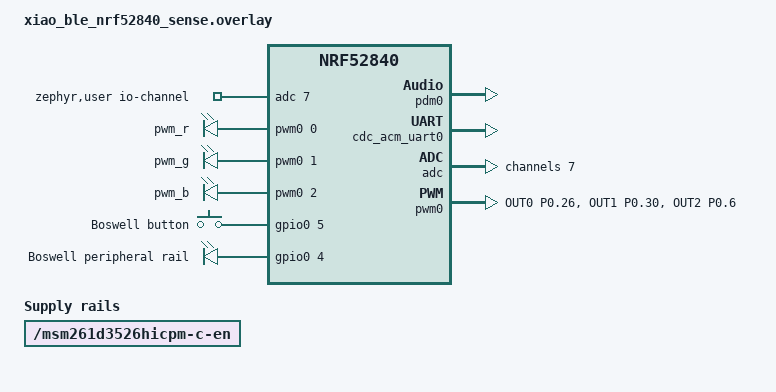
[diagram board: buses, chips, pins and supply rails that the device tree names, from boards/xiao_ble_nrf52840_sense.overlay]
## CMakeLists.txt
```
cmake_minimum_required(VERSION 3.20.0)
find_package(Zephyr REQUIRED HINTS $ENV{ZEPHYR_BASE})
project(boswell)

target_sources(app PRIVATE
  src/main.c
  src/mic.c
  src/codec.c
  src/ble_audio.c
  src/imu_tap.c
  src/battery.c
  src/led.c
  src/cfg_store.c
  src/clock.c
  src/tone.c
  src/fault.c
  src/button.c
  src/qspi_store.c
)

# Only built for a board that has a card. See boards/audio_bff.overlay.
if(CONFIG_DISK_DRIVER_SDMMC)
  target_sources(app PRIVATE src/sd_probe.c src/sd_store.c src/sd_xfer.c)
endif()
# Vendored, not fetched -- see src/lib/opus-1.2.1/README.boswell.md for why
# a copy and not a module, and what was changed on the way in.
if(CONFIG_BOSWELL_OPUS)
  add_subdirectory(src/lib/opus-1.2.1)
  target_include_directories(app PRIVATE src/lib/opus-1.2.1)
  # Named explicitly. zephyr_library_named() registers opus_codec for the
  # final image, but app is itself a static library and the linker sees it
  # before opus -- so the codec's symbols are already past by the time
  # anything asks for them, and every call comes back undefined.
  target_link_libraries(app PRIVATE opus_codec)
endif()

target_include_directories(app PRIVATE src)
```

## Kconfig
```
# Application options. Zephyr requires the sourcing line at the end.

config BOSWELL_OPUS
	bool "Encode captured audio with Opus"
	default n
	help
	  Replaces IMA ADPCM with Opus in CELT restricted-low-delay mode.
	  Half the bitrate for considerably better audio: ADPCM is a 4-bit
	  quantiser at 64 kbps, Opus is near-transparent for speech at 32.

	  Costs about 190 KB of flash for the codec, so it is a build-time
	  choice rather than something the device switches at runtime. The
	  wire protocol carries a codec id either way, so a host can decode
	  recordings from a device built with or without this.

source "Kconfig.zephyr"
```

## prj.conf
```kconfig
# Boswell firmware — Zephyr / nRF Connect SDK
#
# The wire protocol is deliberately identical to the Arduino build: same
# service and characteristic UUIDs, same 12-byte frame header, same IMA ADPCM.
# The host does not need to know which firmware is running.

CONFIG_LOG=y
# Deferred, not immediate: in immediate mode every LOG_* call renders and
# writes synchronously in its caller's context, including the Bluetooth
# stack's threads, and the USB CDC backend can block there.
CONFIG_LOG_MODE_DEFERRED=y
CONFIG_LOG_BUFFER_SIZE=4096
CONFIG_CBPRINTF_FP_SUPPORT=y

# Logs over USB CDC. Without a console there is no way to see why the firmware
# did not do what was expected -- the first version of this shipped blind and
# simply failed to advertise with nothing to say why.
CONFIG_USB_DEVICE_STACK=y
CONFIG_USB_DEVICE_PRODUCT="Boswell"
CONFIG_USB_DEVICE_VID=0x2886
CONFIG_USB_DEVICE_PID=0x8045
CONFIG_USB_CDC_ACM=y
CONFIG_SERIAL=y
CONFIG_CONSOLE=y
CONFIG_UART_CONSOLE=y
CONFIG_UART_LINE_CTRL=y
CONFIG_LOG_BACKEND_UART=y
# Deliberately off. Zephyr's automatic init calls usb_enable(NULL) before
# main() runs, and usb_enable() is once-only: main's own call then returns
# -EALREADY and its status callback is discarded silently. That callback is
# what hands the card to a docked host, so with auto-init on, the handover
# never once fired -- the log said "USB device support already enabled" and
# nothing else, and the card stayed mounted by the firmware while a computer
# had it as a block device.
#
# main() enables USB in its first few lines, and logging is deferred, so the
# early messages are buffered and delivered once the backend is up rather
# than lost.
CONFIG_USB_DEVICE_INITIALIZE_AT_BOOT=n

# --- Bluetooth -------------------------------------------------------------
# These values are taken from Omi's shipping configuration for this exact
# board (prj_xiao_ble_sense_devkitv2-adafruit.conf). They run the same job on
# the same silicon, and guessing at buffer sizes had already cost a working
# connection once.
CONFIG_BT=y
CONFIG_BT_PERIPHERAL=y
CONFIG_BT_DEVICE_NAME="Boswell"
CONFIG_BT_DEVICE_APPEARANCE=832
CONFIG_BT_MAX_CONN=1
CONFIG_BT_MAX_PAIRED=1
CONFIG_BT_GATT_DYNAMIC_DB=y
CONFIG_BT_GATT_CLIENT=n

# Throughput. A steady audio stream needs depth here or notifications stall.
CONFIG_BT_L2CAP_TX_MTU=247
CONFIG_BT_BUF_ACL_RX_SIZE=251
CONFIG_BT_BUF_ACL_TX_SIZE=251
CONFIG_BT_L2CAP_TX_BUF_COUNT=10
CONFIG_BT_CONN_TX_MAX=10
CONFIG_BT_CTLR_DATA_LENGTH_MAX=251

# Negotiate the faster PHY and longer packets automatically.
CONFIG_BT_PHY_UPDATE=y
CONFIG_BT_CTLR_PHY_2M=y
CONFIG_BT_USER_PHY_UPDATE=y
CONFIG_BT_USER_DATA_LEN_UPDATE=y

# --- Control security ---------------------------------------------------------
# The control characteristic arms the microphone, erases the backlog and can
# reboot the device into its bootloader. Left open, anyone within radio range
# could do all three to a microphone somebody is wearing.
#
# Encryption is required for control writes. Pairing is Just Works, because
# this board has no display or keypad to confirm a passkey with -- so it stops
# a passer-by issuing commands and does not stop a determined attacker who is
# present at the moment of pairing. Saying that plainly is better than
# implying more.
#
# Bonds are stored, so the host pairs once. "boswell unpair" forgets them, and
# the USB shell can always arm and disarm regardless -- that is the way back
# in if pairing ever fails.
CONFIG_BT_SMP=y
CONFIG_BT_BONDABLE=y
CONFIG_BT_SETTINGS=y
CONFIG_BT_MAX_PAIRED=2

# Vendor-specific HCI, for setting radio transmit power at runtime.
CONFIG_BT_HCI_VS=y

CONFIG_FPU=y

# --- Audio capture ---------------------------------------------------------
CONFIG_AUDIO=y
CONFIG_AUDIO_DMIC=y
# Selects NRFX_PDM itself; setting that directly is rejected.
CONFIG_AUDIO_DMIC_NRFX_PDM=y

# The board powers the microphone and IMU through fixed regulators declared in
# its devicetree -- including the high-drive setting the IMU needs, which had
# to be discovered by hand in the Arduino build.
CONFIG_REGULATOR=y
CONFIG_REGULATOR_FIXED=y

# --- Storage for settings and the flash buffer -----------------------------
CONFIG_RING_BUFFER=y
CONFIG_FLASH=y
CONFIG_FLASH_MAP=y
CONFIG_NVS=y
CONFIG_SETTINGS=y
CONFIG_SETTINGS_NVS=y

# --- Watchdog --------------------------------------------------------------
# Two hangs in the Arduino build left the device dark with no way back.
CONFIG_WATCHDOG=y
CONFIG_WDT_DISABLE_AT_BOOT=n

# --- Sensors ---------------------------------------------------------------
CONFIG_SENSOR=y
CONFIG_I2C=y

CONFIG_GPIO=y
CONFIG_PWM=y
CONFIG_ADC=y

# --- Store-and-forward -----------------------------------------------------
CONFIG_RING_BUFFER=y
CONFIG_FLASH=y
CONFIG_FLASH_PAGE_LAYOUT=y
CONFIG_NORDIC_QSPI_NOR=y
# The QSPI peripheral's DMA can only read from word-aligned RAM. The driver's
# default is to silently copy unaligned data through a 4-byte stack buffer,
# issuing one transfer per 4 bytes -- a 256-byte page write becomes 64
# transactions, and throughput collapsed to 2.3 KB/s against a 4.7 KB/s
# demand. Disabling it turns that into an error instead of a slow path, and
# the write buffer is aligned explicitly.
CONFIG_NORDIC_QSPI_NOR_STACK_WRITE_BUFFER_SIZE=0

# sys_reboot() lives behind this; without it the DFU trigger fails to link.
CONFIG_REBOOT=y

# A shell on the USB console. Without it every firmware update needs someone
# physically double-tapping RESET, which is a poor loop to develop in.
CONFIG_SHELL=y
CONFIG_SHELL_BACKEND_SERIAL=y
CONFIG_SHELL_PROMPT_UART="boswell> "

CONFIG_MAIN_STACK_SIZE=4096
CONFIG_SYSTEM_WORKQUEUE_STACK_SIZE=2048
CONFIG_HEAP_MEM_POOL_SIZE=8192

# --- Host compatibility ------------------------------------------------------
# This has to work with whatever the user already owns: a Bluetooth 4.0 dongle,
# a modern laptop card, or a phone. So the peripheral asks for the best link it
# can and lets the central decline, rather than being pinned to one host.
#
# Measured on a 4.0 CSR dongle (0a12:0001), which has neither 2M PHY (a 5.0
# feature) nor Data Length Extension (4.2): the PHY request is refused and the
# link stays on 1M, the data-length update never fires, and a 30 s capture
# still returns 30.02 s of audio with 0% loss. Degradation is graceful, so
# leaving these on costs the old dongle nothing and gains a phone real
# throughput. (An earlier revision disabled both on the assumption they were
# breaking the 4.0 link. They were not -- that was the microphone supply and a
# connection-parameter collision.)
CONFIG_BT_AUTO_PHY_UPDATE=y
CONFIG_BT_AUTO_DATA_LEN_UPDATE=y

# --- Power ------------------------------------------------------------------
# The board's own devicetree already puts the SoC regulator in DCDC mode,
# which is the single largest saving on this part and costs nothing.
#
# System power management is OFF, deliberately.
#
# It looked like the obvious win -- every thread is blocked most of the time,
# and the kernel is already tickless -- but letting the CPU into a low-power
# state stops the clock the PDM peripheral runs from. Enabling it produced
# 474 "No audio data to be read" errors in 45 seconds: the microphone stalls
# and the capture is silence. Making it safe means holding a power-state lock
# for as long as the microphone is running, which is most of the time on an
# always-on recorder, so there is little left to save.
CONFIG_PM=n

# Device power management, so drivers can be suspended individually. The QSPI
# part supports deep power-down and the devicetree declares the timings for
# it; without this the flash sits powered even when the backlog is empty,
# which on a device that streams live most of the time is nearly always.
#
# Turned off once while bisecting a capture collapse and shown not to be the
# cause: the fault was bt_gatt_notify() blocking on the capture thread. The
# suspend path is guarded by CONFIG_PM_DEVICE so either setting builds.
CONFIG_PM_DEVICE=y
CONFIG_PM_DEVICE_RUNTIME=n

# Not measured. There is no cell on the board and no meter on the rail, so
# these are known-good settings rather than an observed saving. What has been
# verified is that they do not break capture, Bluetooth, the flash backlog or
# the USB console.

# Crash forensics. The console is USB CDC, which stops the instant the CPU
# halts, so a panic banner never reaches a terminal -- the board just reboots
# looking like a bare watchdog timeout. src/fault.c records the reason across
# the reset instead, and these are what make the record worth reading.
CONFIG_THREAD_NAME=y
CONFIG_THREAD_STACK_INFO=y
CONFIG_INIT_STACKS=y
CONFIG_HW_STACK_PROTECTION=y
```

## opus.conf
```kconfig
# Opus instead of IMA ADPCM. See Kconfig for what it costs.
#
# Kept out of prj.conf so the codec is a deliberate choice per build, and so
# a wearable that has not been reflashed still builds exactly as before.
CONFIG_BOSWELL_OPUS=y

# Opus wants more stack than the default for its encoder state, and the
# encode runs on the capture thread where a smash would look like a codec
# fault rather than a stack fault.
CONFIG_MAIN_STACK_SIZE=4096
CONFIG_SYSTEM_WORKQUEUE_STACK_SIZE=4096
```

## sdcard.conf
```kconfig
# Card support, kept out of prj.conf so the wearable without a card builds
# exactly as before. See boards/audio_bff.overlay for the wiring.

CONFIG_SPI=y
CONFIG_SPI_NRFX=y

CONFIG_DISK_ACCESS=y
CONFIG_DISK_DRIVER_SDMMC=y
CONFIG_SDMMC_STACK=y

CONFIG_FILE_SYSTEM=y
CONFIG_FAT_FILESYSTEM_ELM=y

# Format a blank card rather than refusing to mount one. A card that has never
# been used is the expected state for a new build, and "no filesystem" is not
# a hardware fault worth reporting as one.
CONFIG_FS_FATFS_MOUNT_MKFS=y

# 16 GB cards ship formatted FAT32, which ELM handles without this. It is here
# so that a card somebody reformatted exFAT reports its real state instead of
# looking like a wiring fault -- a false negative on this test is the most
# expensive outcome it has.
CONFIG_FS_FATFS_EXFAT=y
CONFIG_FS_FATFS_LFN=y

# Mass storage, so the card can be read by docking the device.
#
# This is the other half of choosing FAT: files are only worth writing if
# something can read them, and over Bluetooth a day of audio is hours. Over
# USB it is about eleven minutes.
#
# The disk name has to match the one sd_probe registers, because MSC talks to
# the block device directly rather than through the filesystem -- which is
# also why the firmware must unmount before the host is allowed near it.
CONFIG_USB_MASS_STORAGE=y
CONFIG_MASS_STORAGE_DISK_NAME="SD"

# The speaker on the Audio BFF. I2S, so it does not contend with the PDM
# microphone -- they are separate peripherals on this part.
CONFIG_I2S=y
CONFIG_I2S_NRFX=y
CONFIG_POWEROFF=y
```

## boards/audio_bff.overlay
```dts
/*
 * Adafruit Audio BFF stacked on the XIAO nRF52840 Sense.
 *
 * Pin assignments are not a guess: they are the ones the BFF's own
 * documentation specifies, and they match the overlay Omi ships for the same
 * pair of boards (firmware/devkit/overlay/xiao_ble_sense_devkitv2-adafruit).
 * On the XIAO header they land as SD on D8/D9/D10 with CS on D0, and I2S on
 * A1/A2/A3 -- none of which Boswell's base overlay uses, so nothing collides.
 *
 * Applied on top of the board overlay, not instead of it, and only for a
 * build that wants the card:
 *
 *     EXTRA_OVERLAY=boards/audio_bff.overlay EXTRA_CONF=sdcard.conf \
 *         firmware/zephyr/build.sh
 *
 * The amplifier's I2S pins are deliberately left out until there is something
 * to play through them; declaring a peripheral that nothing drives only costs
 * current. They are recorded above so the next person does not have to work
 * them out again.
 */

&spi2 {
	status = "okay";
	pinctrl-0 = <&sd_spi>;
	pinctrl-1 = <&sd_spi>;
	pinctrl-names = "default", "sleep";

	/* D0. Omi's overlay carries a comment saying P0.28 here, which is
	 * wrong -- it is left over from their v1 board, where the card really
	 * was on P0.28. On this one P0.28 is the I2S word-select line, and the
	 * chip select moved to P0.02. Their code is right and their comment is
	 * not; this is the sort of thing that costs an evening. */
	cs-gpios = <&gpio0 2 GPIO_ACTIVE_LOW>;

	sdhc0: sdhc@0 {
		compatible = "zephyr,sdhc-spi-slot";
		reg = <0>;
		status = "okay";
		spi-max-frequency = <24000000>;

		mmc {
			compatible = "zephyr,sdmmc-disk";
			status = "okay";
		};
	};
};

&pinctrl {
	sd_spi: sd_spi {
		group1 {
			psels = <NRF_PSEL(SPIM_SCK, 1, 13)>,    /* D8  */
				<NRF_PSEL(SPIM_MOSI, 1, 15)>,   /* D10 */
				<NRF_PSEL(SPIM_MISO, 1, 14)>;   /* D9  */
		};
	};
};

/*
 * The speaker, so the device can say what it has just done.
 *
 * A wearable that toggles on a press and shows the answer on an LED you
 * cannot see while wearing it is a device you have to take off to trust.
 * Worse, a long press that powers it off silently is indistinguishable from
 * a crash -- which this project has now had enough of to know the difference
 * matters.
 *
 * Pins are Omi's, because this hardware was built to their layout: SCK on
 * A3/P0.29, word select on A2/P0.28, data on A1/P0.03. PDM and I2S are
 * separate peripherals on this part, so the microphone and the amplifier do
 * not contend.
 */
&i2s0 {
	status = "okay";
	pinctrl-0 = <&i2s0_default>;
	pinctrl-names = "default";
};

&pinctrl {
	i2s0_default: i2s0_default {
		group1 {
			psels = <NRF_PSEL(I2S_SCK_M, 0, 29)>,
				<NRF_PSEL(I2S_LRCK_M, 0, 28)>,
				<NRF_PSEL(I2S_SDOUT, 0, 3)>;
		};
	};
};
```

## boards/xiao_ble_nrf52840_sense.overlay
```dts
/*
 * The board declares the PDM pins and clock source but leaves the peripheral
 * disabled, so an application that wants the microphone opts in here. Nothing
 * about the wiring is repeated -- that already lives in the board definition.
 */

&pdm0 {
	status = "okay";
};

/ {
	chosen {
		/* Route console and logs to USB CDC so a board with no debug
		 * probe can still be diagnosed. */
		zephyr,console = &cdc_acm_uart0;
		zephyr,shell-uart = &cdc_acm_uart0;
	};
};

&zephyr_udc0 {
	cdc_acm_uart0: cdc_acm_uart0 {
		compatible = "zephyr,cdc-acm-uart";
	};
};

/*
 * Power the microphone.
 *
 * The board's own DTS declares the mic's supply as a regulator-fixed node on
 * P1.10, but -- unlike the IMU's, right next to it -- without regulator-boot-on,
 * and nothing references it: the PDM driver has no regulator support and the
 * pdm0 node has no supply property. So the regulator is never enabled, the
 * microphone stays unpowered, and PDM samples a floating pin. That reads as
 * full-scale noise, which is exactly the 99.7% clipping measured on the first
 * Zephyr captures. Enable it the same way the board enables the IMU's.
 */
&{/msm261d3526hicpm-c-en} {
	compatible = "regulator-fixed-sync", "regulator-fixed";
	regulator-boot-on;
	regulator-always-on;
	startup-delay-us = <3000>;
};

/*
 * Hold the IMU's supply on. The board declares this one with regulator-boot-on
 * but not regulator-always-on, so nothing keeps a reference to it and the
 * part can end up unpowered -- WHO_AM_I reads back 0xFF on both addresses.
 * Same failure the microphone had, one node over.
 */
&{/lsm6ds3tr-c-en} {
	regulator-always-on;
};

/*
 * Battery sense on AIN7 (P0.31). Gain 1/6 against the internal 0.6 V
 * reference gives a 3.6 V full scale at the pin, which the 1M/510k divider
 * maps to about 10.6 V of battery -- far more headroom than a single lithium
 * cell needs, and it keeps the reading independent of VDD as the cell drains.
 */
&adc {
	status = "okay";
	#address-cells = <1>;
	#size-cells = <0>;

	channel@7 {
		reg = <7>;
		zephyr,gain = "ADC_GAIN_1_6";
		zephyr,reference = "ADC_REF_INTERNAL";
		zephyr,acquisition-time = <ADC_ACQ_TIME(ADC_ACQ_TIME_MICROSECONDS, 40)>;
		zephyr,input-positive = <NRF_SAADC_AIN7>;
		zephyr,resolution = <12>;
	};
};

/ {
	zephyr,user {
		io-channels = <&adc 7>;
	};
};

/*
 * PWM on the three LED channels, for brightness control.
 *
 * The board's stock pwm0_default maps PWM_OUT0 to P0.17, which is not an LED
 * at all -- it is the BQ25101's ~CHG output, which this firmware reads to
 * report charging. Using the shipped pwm-led0 alias would have driven an
 * output onto an input the battery code depends on. These are the real LED
 * pins: red P0.26, green P0.30, blue P0.06.
 *
 * The RGB LED is common anode, so a channel lights when its pin is pulled
 * low; nordic,invert makes a rising duty cycle mean a brighter LED.
 */
&pwm0 {
	status = "okay";
	pinctrl-0 = <&pwm0_leds>;
	pinctrl-1 = <&pwm0_leds_sleep>;
	pinctrl-names = "default", "sleep";
};

&pinctrl {
	pwm0_leds: pwm0_leds {
		group1 {
			psels = <NRF_PSEL(PWM_OUT0, 0, 26)>,
				<NRF_PSEL(PWM_OUT1, 0, 30)>,
				<NRF_PSEL(PWM_OUT2, 0, 6)>;
			nordic,invert;
		};
	};

	pwm0_leds_sleep: pwm0_leds_sleep {
		group1 {
			psels = <NRF_PSEL(PWM_OUT0, 0, 26)>,
				<NRF_PSEL(PWM_OUT1, 0, 30)>,
				<NRF_PSEL(PWM_OUT2, 0, 6)>;
			nordic,invert;
			low-power-enable;
		};
	};
};

/ {
	boswell_leds {
		compatible = "pwm-leds";
		/* Inverted, measured rather than reasoned about. With NORMAL the
		 * pins read low at zero duty, and low lights a common-anode LED --
		 * so "off" came out magenta and sat there, which is what the board
		 * showed for days. Read back with "boswell led probe". */
		pwm_r: pwm_r { pwms = <&pwm0 0 PWM_MSEC(20) PWM_POLARITY_INVERTED>; };
		pwm_g: pwm_g { pwms = <&pwm0 1 PWM_MSEC(20) PWM_POLARITY_INVERTED>; };
		pwm_b: pwm_b { pwms = <&pwm0 2 PWM_MSEC(20) PWM_POLARITY_INVERTED>; };
	};
};

/*
 * The push button, wired the way this board actually is.
 *
 * Not a switch to ground. The Omi Triangle layout this hardware was built to
 * bridges two header pins: D4 is driven high as the supply and D5 is the
 * sense line, so a press sources 3.3 V into D5 rather than pulling anything
 * down. Measured on the board with `boswell pins omi`: no pull gave 13
 * transitions, pull-down gave 15, and pull-up gave none at all -- the pull-up
 * holds the line high and swamps the very signal it is meant to detect.
 *
 * So: pull-down, active high, pressed = 1.
 *
 * This started on D7 as a switch to ground, which is what you choose when you
 * pick a free pin instead of reading the schematic of the thing somebody
 * actually soldered. Every scan came back empty because a switch bridging two
 * pulled-up inputs shorts two pins that already agree.
 *
 * i2c1 has to go. It is the header I2C bus, enabled by the board with nothing
 * on it, and its pinctrl claims exactly P0.04 and P0.05. The IMU is on i2c0,
 * on P0.07 and P0.27, and is untouched by this.
 *
 * uart0 was disabled for a while, when the button was thought to be on D7 and
 * uart0 owned that pin as its RX. It is left enabled now the button has moved
 * to where the board actually wires it, which keeps D6 and D7 available for a
 * hardware UART -- worth having one day, because USB CDC cannot deliver a
 * panic banner and that cost this project a day.
 *
 * Two conflicts of the same shape in one evening is the lesson worth keeping:
 * a peripheral left status = "okay" that nothing uses still owns its pins,
 * and the generated devicetree is the only place that says so.
 */
&i2c1 {
	status = "disabled";
};

/ {
	buttons {
		compatible = "gpio-keys";
		boswell_button: button_0 {
			gpios = <&gpio0 5 (GPIO_ACTIVE_HIGH | GPIO_PULL_DOWN)>;
			label = "Boswell button";
		};
	};

	/* D4 is a shared enable rail, not the button's alone.
	 *
	 * Omi drive it high from both their button code and their speaker code,
	 * which looks like a conflict and is not: it is the 3.3 V line the
	 * switch sources from and the line that wakes the amplifier. Held high
	 * for as long as the device is on, by whichever of the two asks first.
	 */
	boswell_rail: peripheral-rail {
		compatible = "gpio-leds";
		btn_supply: btn_supply {
			gpios = <&gpio0 4 GPIO_ACTIVE_HIGH>;
			label = "Boswell peripheral rail";
		};
	};

	aliases {
		sw0 = &boswell_button;
	};
};
```

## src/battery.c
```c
#include "battery.h"

#include <zephyr/device.h>
#include <zephyr/drivers/adc.h>
#include <zephyr/drivers/gpio.h>
#include <zephyr/kernel.h>
#include <zephyr/logging/log.h>

LOG_MODULE_REGISTER(battery, LOG_LEVEL_INF);

/* 1M over 510k. */
#define VBAT_NUM   1510
#define VBAT_DEN   510

static const struct adc_dt_spec vbat_adc =
    ADC_DT_SPEC_GET_BY_IDX(DT_PATH(zephyr_user), 0);

/* Not in the board devicetree as named nodes, so addressed by number. */
static const struct gpio_dt_spec vbat_enable = {
    .port = DEVICE_DT_GET(DT_NODELABEL(gpio0)), .pin = 14, .dt_flags = 0,
};
static const struct gpio_dt_spec chg_pin = {
    .port = DEVICE_DT_GET(DT_NODELABEL(gpio0)), .pin = 17, .dt_flags = 0,
};
/* HICHG on P0.13: driven low selects 100 mA, floating leaves the BQ25100 at
 * its 50 mA default. Only raise it on a cell rated for the current. */
static const struct gpio_dt_spec hichg = {
    .port = DEVICE_DT_GET(DT_NODELABEL(gpio0)), .pin = 13, .dt_flags = 0,
};
static bool fast_charge;

static bool     ready;
/* Pin operations the driver refused. A charge setting that did not take is
 * otherwise indistinguishable from one that did. */
static uint32_t gpio_fails;
static uint16_t cached_mv;

uint32_t battery_gpio_fails(void) { return gpio_fails; }

int battery_init(void)
{
    if (!adc_is_ready_dt(&vbat_adc)) {
        LOG_ERR("ADC not ready");
        return -ENODEV;
    }
    int err = adc_channel_setup_dt(&vbat_adc);
    if (err) {
        LOG_ERR("adc_channel_setup failed (%d)", err);
        return err;
    }
    /* Start disconnected: the divider draws ~8 uA continuously while it is
     * connected, which matters on a device meant to run all day.
     *
     * These returns were discarded. A pin that failed to configure gives a
     * reading taken through a divider that was never switched in -- a
     * plausible-looking voltage that means nothing, reported to the interface
     * as a battery level. Refusing to come up says "no battery reading", and
     * an absent number is worth more than an invented one. */
    err = gpio_pin_configure_dt(&vbat_enable, GPIO_OUTPUT_HIGH);
    if (err) {
        LOG_ERR("battery enable pin failed (%d)", err);
        return err;
    }
    err = gpio_pin_configure_dt(&chg_pin, GPIO_INPUT | GPIO_PULL_UP);
    if (err) {
        LOG_ERR("charge sense pin failed (%d)", err);
        return err;
    }

    battery_set_fast_charge(false);    /* float: the safe default */

    ready = true;
    battery_sample();
    LOG_INF("battery %u mV (%u%%)%s", cached_mv, battery_percent(),
            battery_charging() ? ", charging" : "");
    return 0;
}

void battery_sample(void)
{
    if (!ready) {
        return;
    }
    int16_t buf = 0;
    struct adc_sequence seq = { .buffer = &buf, .buffer_size = sizeof(buf) };
    (void)adc_sequence_init_dt(&vbat_adc, &seq);

    if (gpio_pin_set_dt(&vbat_enable, 0) != 0) {   /* connect the divider */
        gpio_fails++;
        return;                        /* no divider, no honest reading */
    }
    k_busy_wait(200);

    int32_t acc = 0, n = 0;
    for (int i = 0; i < 8; i++) {
        if (adc_read_dt(&vbat_adc, &seq) == 0) {
            acc += buf;
            n++;
        }
    }
    gpio_pin_set_dt(&vbat_enable, 1);      /* and disconnect it again */

    if (n == 0) {
        cached_mv = 0;
        return;
    }
    int32_t mv = acc / n;
    if (adc_raw_to_millivolts_dt(&vbat_adc, &mv) != 0) {
        cached_mv = 0;
        return;
    }
    cached_mv = (uint16_t)((mv * VBAT_NUM) / VBAT_DEN);
}

void battery_set_fast_charge(bool on)
{
    fast_charge = on;
    if (on) {
        if (gpio_pin_configure_dt(&hichg, GPIO_OUTPUT_LOW) != 0) {
            gpio_fails++;
        }
    } else {
        if (gpio_pin_configure_dt(&hichg, GPIO_INPUT) != 0) {  /* float */
            gpio_fails++;
        }
    }
}

bool battery_fast_charge(void) { return fast_charge; }

uint16_t battery_mv(void) { return cached_mv; }

bool battery_charging(void)
{
    if (!ready) {
        return false;
    }
    return gpio_pin_get_dt(&chg_pin) == 0;   /* ~CHG is active low */
}

/* A single-cell lithium curve is flat through the middle, so a linear map from
 * volts to percent is misleading. These breakpoints track the discharge curve
 * closely enough to be useful without pretending to precision. Same table as
 * the Arduino build, so the two firmwares report the same number. */
uint8_t battery_percent(void)
{
    static const uint16_t pts[][2] = {
        {4150, 100}, {4050, 90}, {3950, 75}, {3850, 60}, {3800, 50},
        {3750, 40}, {3700, 30}, {3650, 20}, {3550, 10}, {3400, 5}, {3200, 0}
    };
    uint16_t mv = cached_mv;

    if (mv == 0) {
        return 0;
    }
    if (mv >= pts[0][0]) {
        return 100;
    }
    for (size_t i = 1; i < ARRAY_SIZE(pts); i++) {
        if (mv >= pts[i][0]) {
            uint16_t hi_v = pts[i - 1][0], lo_v = pts[i][0];
            uint8_t  hi_p = pts[i - 1][1], lo_p = pts[i][1];
            return (uint8_t)(lo_p + (int32_t)(mv - lo_v) * (hi_p - lo_p) / (hi_v - lo_v));
        }
    }
    return 0;
}
```

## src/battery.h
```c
/*
 * Battery sense for the XIAO nRF52840.
 *
 * VBAT reaches AIN7 through a 1M/510k divider that is disconnected until
 * VBAT_ENABLE (P0.14) is driven low, so a reading taken without enabling it
 * is meaningless rather than merely wrong. The BQ25101's ~CHG output on P0.17
 * is active low.
 */

#ifndef BOSWELL_BATTERY_H
#define BOSWELL_BATTERY_H

#include <stdbool.h>
#include <stdint.h>

int      battery_init(void);
uint16_t battery_mv(void);        /* 0 if unavailable */
uint8_t  battery_percent(void);
bool     battery_charging(void);
void     battery_sample(void);    /* refresh the cached reading */
/* BQ25100 charge current. The pin is driven low for 100 mA and left floating
 * for the 50 mA default, so this is a tri-state, not a level. */
void     battery_set_fast_charge(bool on);
bool     battery_fast_charge(void);

/* Pin operations the driver refused. */
uint32_t battery_gpio_fails(void);

#endif
```

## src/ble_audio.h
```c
#ifndef BOSWELL_BLE_AUDIO_H
#define BOSWELL_BLE_AUDIO_H

#include "proto.h"

/* `extra` is whatever followed the opcode and argument, for the few controls
 * that cannot say what they mean in one byte -- the wall clock needs four.
 * It is NULL for the ordinary two-byte writes, which is all of them but one. */
typedef void (*ctrl_handler_t)(uint8_t op, uint8_t arg,
                               const uint8_t *extra, uint16_t extra_len);

int  ble_audio_init(ctrl_handler_t on_ctrl);
bool ble_audio_connected(void);
/* Connected *and* subscribed. A host that has connected but not enabled
 * notifications cannot receive audio, and buffering is the right move then
 * just as much as when nothing is connected at all. */
bool ble_audio_ready(void);
int  ble_audio_send(const uint8_t *frame, uint16_t len);
void ble_audio_send_stats(uint32_t out[4]);
void ble_audio_dead_link_stats(uint32_t out[3]);
/* The live connection's controller handle, or -1 when there is none. */
int  ble_audio_conn_handle(void);
void ble_audio_note_delivery_attempt(void);
/* Frames the radio would not take. Defined in main.c, published in info. */
uint32_t ble_audio_notify_drops(void);
void ble_audio_publish_info(void);

/* Re-negotiate the connection interval. Streaming wants a tight one; idling
 * does not. Must be called when streaming starts or stops, not just at
 * subscribe time -- the host subscribes before it sends CTRL_STREAM, so the
 * link would otherwise sit at the idle interval for the whole capture. */
void ble_audio_apply_conn_params(bool streaming);
/* Whether an advertiser is believed to be running, and a way to force one.
 * A peripheral that is neither connected nor advertising is unreachable
 * until it is power-cycled, which is the worst state this firmware can be
 * in, so it is made observable and recoverable. */
bool ble_audio_advertising(void);
/* A link exists, whether or not the host has subscribed to audio yet.
 * Distinct from ble_audio_connected(), which means "linked AND subscribed" --
 * conflating the two made a perfectly healthy connection look like the
 * unreachable state and sent a diagnosis off in the wrong direction. */
bool ble_audio_linked(void);
/* arms, fires, drops for the never-subscribed guard. A guard whose firing
 * cannot be observed is indistinguishable from one that is not there. */
void ble_audio_idle_stats(uint32_t out[3]);
/* Raw motion goes out on its own characteristic so a host that only wants
 * audio is not made to decode it, and so losing a motion frame can never
 * disturb the audio sequence. */
int  ble_imu_send(const uint8_t *frame, uint16_t len);
bool ble_imu_ready(void);
int  ble_audio_advertise_now(void);

/* Identifies this run. Zero until Bluetooth has started. */
uint16_t ble_audio_boot_id(void);

/* Notify on the files characteristic. Returns 0, or a negative errno when
 * there is nobody to notify. */
int ble_audio_send_files(const uint8_t *data, uint16_t len);

/* The six bytes of this device's Bluetooth identity, which is the only name
 * it has that a second recorder cannot also claim. False before Bluetooth
 * has started. */
bool ble_audio_device_id(uint8_t out[6]);

#endif
```

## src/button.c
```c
#include "button.h"

#include <zephyr/kernel.h>
#include <zephyr/drivers/gpio.h>
#include <zephyr/logging/log.h>

LOG_MODULE_REGISTER(boswell_button, LOG_LEVEL_INF);

#if DT_NODE_EXISTS(DT_ALIAS(sw0))

static const struct gpio_dt_spec sw = GPIO_DT_SPEC_GET(DT_ALIAS(sw0), gpios);

/* The other half of the switch.
 *
 * This board does not wire the button to ground; it bridges two header pins,
 * with D4 held high as the supply and D5 sensing. Nothing is readable until
 * this pin is driven, which is why a scan of D5 alone found a quiet line no
 * matter how hard the button was pressed. */
static const struct gpio_dt_spec supply =
    GPIO_DT_SPEC_GET(DT_NODELABEL(btn_supply), gpios);

/* Timings are Omi's, which were measured against a real switch on this same
 * part rather than reasoned about. Copying them costs nothing and skips the
 * round of "is 500 ms too long" that inventing them would need.
 *
 * DEBOUNCE_MS is this project's own. A tactile switch bounces for a few
 * milliseconds on both edges; 30 ms is well past that and far short of the
 * fastest deliberate press. */
#define DEBOUNCE_MS   30
#define LONG_MS     3000    /* held this long is a long press */
#define PAIR_MS      600    /* a second press inside this pairs into a double */

static void (*on_gesture)(enum button_gesture);

static struct gpio_callback cb;
static struct k_work_delayable settle_work;   /* debounce */
static struct k_work_delayable pair_work;     /* "no second press came" */
static struct k_work_delayable long_work;     /* "still held" */

static atomic_t presses, singles, doubles, longs, bounces;

static bool     down;            /* debounced state */
static bool     long_fired;      /* this hold already reported BUTTON_LONG */
static bool     awaiting_pair;   /* one press seen, waiting out PAIR_MS */
static int64_t  down_at;

static void report(enum button_gesture g)
{
    switch (g) {
    case BUTTON_SINGLE: atomic_inc(&singles); break;
    case BUTTON_DOUBLE: atomic_inc(&doubles); break;
    case BUTTON_LONG:   atomic_inc(&longs);   break;
    }
    if (on_gesture) {
        on_gesture(g);
    }
}

/* PAIR_MS passed with no second press, so the one that is waiting was single
 * after all. Reported here rather than on release, which is what makes a
 * double tap possible at all: a single cannot be announced until it is known
 * not to be the first half of something else. */
static void pair_expired(struct k_work *w)
{
    ARG_UNUSED(w);
    if (awaiting_pair) {
        awaiting_pair = false;
        report(BUTTON_SINGLE);
    }
}

/* The switch has been held for LONG_MS. Reported while it is still down,
 * not on release, so the gesture lands when the user has held it long
 * enough rather than when they happen to let go. */
static void long_held(struct k_work *w)
{
    ARG_UNUSED(w);
    if (down && !long_fired) {
        long_fired = true;
        /* A long press is its own thing, so anything half-collected is not
         * also a tap. */
        awaiting_pair = false;
        k_work_cancel_delayable(&pair_work);
        report(BUTTON_LONG);
    }
}

static void settled(struct k_work *w)
{
    ARG_UNUSED(w);

    bool now = gpio_pin_get_dt(&sw) > 0;
    if (now == down) {
        /* The line went and came back inside the debounce window, so there
         * was no real transition -- only contact bounce. */
        atomic_inc(&bounces);
        return;
    }
    down = now;

    if (down) {
        atomic_inc(&presses);
        down_at    = k_uptime_get();
        long_fired = false;
        k_work_reschedule(&long_work, K_MSEC(LONG_MS));
        return;
    }

    k_work_cancel_delayable(&long_work);

    if (long_fired) {
        /* Already reported while held; the release is not a second gesture. */
        return;
    }

    int64_t held = k_uptime_get() - down_at;
    if (held >= LONG_MS) {
        /* Belt and braces: if the work item was delayed past the release,
         * the hold still counts for what it was. */
        report(BUTTON_LONG);
        return;
    }

    if (awaiting_pair) {
        awaiting_pair = false;
        k_work_cancel_delayable(&pair_work);
        report(BUTTON_DOUBLE);
    } else {
        awaiting_pair = true;
        k_work_reschedule(&pair_work, K_MSEC(PAIR_MS));
    }
}

static void edge(const struct device *port, struct gpio_callback *c,
                 gpio_port_pins_t pins)
{
    ARG_UNUSED(port); ARG_UNUSED(c); ARG_UNUSED(pins);
    /* Nothing is decided in interrupt context. The pin is read once it has
     * stopped moving, which is also what makes a bounce countable rather
     * than indistinguishable from a very fast press. */
    k_work_reschedule(&settle_work, K_MSEC(DEBOUNCE_MS));
}

int button_init(void (*handler)(enum button_gesture))
{
    on_gesture = handler;

    if (!gpio_is_ready_dt(&sw)) {
        LOG_ERR("button pin not ready");
        return -ENODEV;
    }

    /* Supply first. Sensing a line nothing is driving reads noise, and the
     * order matters at boot: configure the input first and the first read
     * happens against a floating pin. */
    if (!gpio_is_ready_dt(&supply)) {
        LOG_ERR("button supply pin not ready");
        return -ENODEV;
    }
    int err = gpio_pin_configure_dt(&supply, GPIO_OUTPUT_ACTIVE);
    if (err) {
        LOG_ERR("button supply configure: %d", err);
        return err;
    }

    err = gpio_pin_configure_dt(&sw, GPIO_INPUT);
    if (err) {
        LOG_ERR("button pin configure: %d", err);
        return err;
    }

    k_work_init_delayable(&settle_work, settled);
    k_work_init_delayable(&pair_work,   pair_expired);
    k_work_init_delayable(&long_work,   long_held);

    err = gpio_pin_interrupt_configure_dt(&sw, GPIO_INT_EDGE_BOTH);
    if (err) {
        LOG_ERR("button interrupt configure: %d", err);
        return err;
    }

    gpio_init_callback(&cb, edge, BIT(sw.pin));
    gpio_add_callback(sw.port, &cb);

    down = gpio_pin_get_dt(&sw) > 0;
    if (down) {
        /* Held at boot means the switch is stuck, miswired, or the pin was
         * chosen badly -- all of which look identical to a device that
         * powers up already toggling itself. Say so once. */
        LOG_WRN("button reads pressed at boot; check the wiring");
    }

    LOG_INF("button: sense %s pin %d, supply %s pin %d",
            sw.port->name, sw.pin, supply.port->name, supply.pin);
    return 0;
}

void button_counters(uint32_t *p, uint32_t *s, uint32_t *d, uint32_t *l,
                     uint32_t *b)
{
    if (p) *p = (uint32_t) atomic_get(&presses);
    if (s) *s = (uint32_t) atomic_get(&singles);
    if (d) *d = (uint32_t) atomic_get(&doubles);
    if (l) *l = (uint32_t) atomic_get(&longs);
    if (b) *b = (uint32_t) atomic_get(&bounces);
}

bool button_is_down(void)
{
    return down;
}

#else  /* no sw0 in the devicetree */

int button_init(void (*handler)(enum button_gesture))
{
    ARG_UNUSED(handler);
    return -ENODEV;
}

void button_counters(uint32_t *p, uint32_t *s, uint32_t *d, uint32_t *l,
                     uint32_t *b)
{
    if (p) *p = 0;
    if (s) *s = 0;
    if (d) *d = 0;
    if (l) *l = 0;
    if (b) *b = 0;
}

bool button_is_down(void) { return false; }

#endif
```

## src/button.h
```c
#ifndef BOSWELL_BUTTON_H
#define BOSWELL_BUTTON_H

#include <stdbool.h>
#include <stdint.h>

/* A momentary switch to ground, read as gestures rather than as edges.
 *
 * The accelerometer tap this replaces has no way to tell a deliberate tap
 * from the device being set down -- the IMU sees the same impulse either way,
 * and every attempt to separate them has been a threshold compromise. A
 * switch has no such ambiguity, which is the whole reason for fitting one. */

enum button_gesture {
    BUTTON_SINGLE,   /* a press and release, on its own */
    BUTTON_DOUBLE,   /* two of those inside the pairing window */
    BUTTON_LONG,     /* held past the long-press threshold */
};

/* Install the handler. Safe to call on a board with no switch fitted: the
 * pin is held high by its pull-up and no gesture is ever reported.
 * Returns 0, or a negative errno if the pin could not be claimed. */
int button_init(void (*handler)(enum button_gesture));

/* Counters, for `boswell button` -- the same question the tap counters
 * answer, which is whether the hardware is being seen at all. */
void button_counters(uint32_t *presses, uint32_t *singles,
                     uint32_t *doubles, uint32_t *longs, uint32_t *bounces);

/* Is the switch held down right now? */
bool button_is_down(void);

#endif /* BOSWELL_BUTTON_H */
```

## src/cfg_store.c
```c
#include "cfg_store.h"

#include <string.h>
#include <zephyr/device.h>
#include <zephyr/drivers/flash.h>
#include <zephyr/fs/nvs.h>
#include <zephyr/storage/flash_map.h>
#include <zephyr/kernel.h>
#include <zephyr/logging/log.h>

LOG_MODULE_REGISTER(cfg_store, LOG_LEVEL_INF);

#define NVS_PARTITION      storage_partition
#define NVS_PARTITION_DEV  FIXED_PARTITION_DEVICE(NVS_PARTITION)
#define NVS_PARTITION_OFF  FIXED_PARTITION_OFFSET(NVS_PARTITION)
#define NVS_PARTITION_SIZE FIXED_PARTITION_SIZE(NVS_PARTITION)

#define SETTINGS_ID   1
#define BACKLOG_ID    2
#define SAVE_DELAY_MS 3000

static struct nvs_fs fs;
static bool    ready;
static int64_t dirty_at;

int cfg_store_init(void)
{
    struct flash_pages_info info;

    fs.flash_device = NVS_PARTITION_DEV;
    if (!device_is_ready(fs.flash_device)) {
        LOG_ERR("settings flash not ready");
        return -ENODEV;
    }
    fs.offset = NVS_PARTITION_OFF;

    int err = flash_get_page_info_by_offs(fs.flash_device, fs.offset, &info);
    if (err) {
        LOG_ERR("page info failed (%d)", err);
        return err;
    }
    fs.sector_size  = info.size;
    fs.sector_count = NVS_PARTITION_SIZE / info.size;

    err = nvs_mount(&fs);
    if (err) {
        LOG_ERR("nvs_mount failed (%d)", err);
        return err;
    }
    ready = true;
    LOG_INF("settings: %u sectors of %u B", fs.sector_count, fs.sector_size);
    return 0;
}

bool cfg_store_ready(void) { return ready; }

bool cfg_store_load(struct boswell_settings *out)
{
    if (!ready || out == NULL) {
        return false;
    }
    ssize_t n = nvs_read(&fs, SETTINGS_ID, out, sizeof(*out));

    if (n != (ssize_t)sizeof(*out)) {
        LOG_INF("no saved settings, using defaults");
        return false;
    }
    if (out->magic != BOSWELL_SETTINGS_MAGIC ||
        out->version != BOSWELL_SETTINGS_VER) {
        LOG_WRN("settings magic/version mismatch, using defaults");
        return false;
    }
    LOG_INF("settings restored");
    return true;
}

bool cfg_store_load_backlog(struct boswell_backlog *out)
{
    if (!ready || out == NULL) {
        return false;
    }
    ssize_t n = nvs_read(&fs, BACKLOG_ID, out, sizeof(*out));

    if (n != (ssize_t)sizeof(*out)) {
        return false;
    }
    if (out->magic != BOSWELL_BACKLOG_MAGIC ||
        out->version != BOSWELL_BACKLOG_VER) {
        LOG_WRN("backlog cursor magic/version mismatch, ignoring");
        return false;
    }
    return true;
}

void cfg_store_save_backlog(int64_t w_pos, int64_t r_pos,
                            const uint8_t fingerprint[8])
{
    if (!ready) {
        return;
    }
    struct boswell_backlog rec = {
        .magic = BOSWELL_BACKLOG_MAGIC,
        .version = BOSWELL_BACKLOG_VER,
        .w_pos = w_pos,
        .r_pos = r_pos,
    };

    if (fingerprint) {
        memcpy(rec.fingerprint, fingerprint, sizeof(rec.fingerprint));
    }
    /* NVS skips a write whose contents match what is stored, so calling this
     * with unchanged cursors costs nothing. */
    ssize_t n = nvs_write(&fs, BACKLOG_ID, &rec, sizeof(rec));

    if (n < 0) {
        LOG_ERR("backlog cursor save failed (%d)", (int)n);
    }
}

void cfg_store_touch(void)
{
    dirty_at = k_uptime_get();
}

void cfg_store_service(const struct boswell_settings *cur)
{
    if (!ready || dirty_at == 0 || cur == NULL) {
        return;
    }
    if (k_uptime_get() - dirty_at < SAVE_DELAY_MS) {
        return;
    }
    dirty_at = 0;

    struct boswell_settings rec = *cur;
    rec.magic   = BOSWELL_SETTINGS_MAGIC;
    rec.version = BOSWELL_SETTINGS_VER;

    /* NVS already skips a write whose contents match the stored record, so
     * repeatedly settling on the same value does not consume flash. */
    ssize_t n = nvs_write(&fs, SETTINGS_ID, &rec, sizeof(rec));
    if (n < 0) {
        LOG_ERR("settings save failed (%d)", (int)n);
    } else {
        LOG_INF("settings saved");
    }
}
```

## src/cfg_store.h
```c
/*
 * Persisted settings, in the board's 32 KB storage partition via NVS.
 *
 * Saves are debounced: a slider dragged across the web UI produces a stream
 * of control writes, and committing each one would burn flash cycles for
 * values the user is still in the middle of choosing.
 *
 * The struct is versioned. A record whose magic or version does not match is
 * ignored rather than reinterpreted, so a firmware update that changes the
 * layout falls back to defaults instead of loading garbage as configuration.
 */

#ifndef BOSWELL_CFG_STORE_H
#define BOSWELL_CFG_STORE_H

#include <stdbool.h>
#include <stdint.h>

#define BOSWELL_SETTINGS_MAGIC 0xB05E
/* 2: buffering split out from backlog_mode, which now means replay order
   only. A version 1 record describes a field that meant both. */
#define BOSWELL_SETTINGS_VER   2

struct boswell_settings {
    uint16_t magic;
    uint8_t  version;
    uint8_t  gain;
    uint8_t  use16k;
    uint8_t  vad_enabled;
    uint16_t vad_thresh;
    uint8_t  led_level;
    uint8_t  led_mode;
    uint8_t  backlog_mode;
    uint8_t  buffering;
    uint8_t  mic_power_save;
    uint8_t  tap_thresh;
    uint16_t tap_debounce_ms;
    int8_t   tx_power;
};

/* Where the flash backlog had got to.
 *
 * Buffered audio survives a reboot physically -- it is in external flash --
 * but the cursors that say which of it is unsent were reset to zero on every
 * boot, so a watchdog reset or a battery interruption discarded everything
 * waiting. That is a hole in the one guarantee the store exists to make.
 *
 * Positions are the monotonic counters the ring uses, not addresses, so they
 * survive the modulo arithmetic unchanged. Validated on load against the
 * actual flash contents before being trusted.
 */
#define BOSWELL_BACKLOG_MAGIC 0xB0C5
/* 2: records gained a CRC byte, so a version 1 cursor describes a layout
   that no longer exists and must not be trusted. */
/* 3: the record fingerprint was added. */
#define BOSWELL_BACKLOG_VER   3

struct boswell_backlog {
    uint16_t magic;
    uint8_t  version;
    uint8_t  _pad;
    int64_t  w_pos;
    int64_t  r_pos;
    /* The first bytes of the record the read cursor points at.
     *
     * A cursor describes a layout, and the flash can be rewritten by
     * something that does not share it -- flashing the other firmware and
     * back is enough, since both write the same external flash with their own
     * independent cursors. The cursor then survives while the data under it
     * does not, and the drain stalls on a record that is real but in the
     * wrong place. Verified on the board by doing exactly that: the store
     * came back with a valid-looking cursor, sent five frames, and stopped.
     *
     * Cheap to store and decisive on restore: if these bytes are not still
     * there, the cursor is describing somebody else's flash. */
    uint8_t  fingerprint[8];
};

int  cfg_store_init(void);
bool cfg_store_load_backlog(struct boswell_backlog *out);
void cfg_store_save_backlog(int64_t w_pos, int64_t r_pos,
                            const uint8_t fingerprint[8]);
bool cfg_store_load(struct boswell_settings *out);
/* Mark dirty; the actual write happens a few seconds later. */
void cfg_store_touch(void);
/* Call regularly from the housekeeping loop. */
void cfg_store_service(const struct boswell_settings *cur);
bool cfg_store_ready(void);

#endif
```

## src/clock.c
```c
#include "clock.h"

#include <zephyr/kernel.h>
#include <zephyr/logging/log.h>

LOG_MODULE_REGISTER(boswell_clock, LOG_LEVEL_INF);

/* Seconds to add to uptime-in-seconds to get the epoch. Zero means nobody
 * has said, which is a state worth keeping distinguishable rather than
 * papering over with a plausible default. */
static uint32_t epoch_offset;
static bool     have_time;

void clock_set_epoch(uint32_t epoch)
{
    uint32_t up = (uint32_t)(k_uptime_get() / 1000);

    if (epoch < 1700000000u) {
        /* Before late 2023. A host with a dead RTC or a clock still at the
         * epoch would otherwise stamp a day of recordings as 1970, which
         * reads as data rather than as a fault. */
        LOG_WRN("refusing implausible epoch %u", epoch);
        return;
    }

    uint32_t was = epoch_offset;
    epoch_offset = epoch - up;

    if (!have_time) {
        have_time = true;
        LOG_INF("clock set: epoch %u at uptime %u s", epoch, up);
    } else {
        int32_t drift = (int32_t)(epoch_offset - was);
        if (drift > 5 || drift < -5) {
            /* Worth saying out loud. The offset should be near-constant, so
             * a jump means either the host's clock moved or the device's
             * uptime did, and both change how earlier recordings should be
             * read. */
            LOG_INF("clock adjusted by %d s", drift);
        }
    }
}

bool clock_is_set(void) { return have_time; }

uint32_t clock_boot_epoch(void) { return have_time ? epoch_offset : 0; }

uint32_t clock_now(void)
{
    if (!have_time) {
        return 0;
    }
    return epoch_offset + (uint32_t)(k_uptime_get() / 1000);
}

uint32_t clock_at_uptime(uint32_t uptime_ms)
{
    if (!have_time) {
        return 0;
    }
    return epoch_offset + uptime_ms / 1000;
}
```

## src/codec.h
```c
#ifndef BOSWELL_CODEC_H
#define BOSWELL_CODEC_H

#include "proto.h"

/* Encode one frame of PCM into the shared wire format.
 * Returns the number of bytes written to `out`. */
uint16_t codec_build_frame(const int16_t *samples, int count, uint16_t seq,
                           uint32_t t_ms, uint8_t flags, uint8_t *out);

/* Root-mean-square of a frame, used by the energy gate. */
uint32_t codec_rms(const int16_t *samples, int count);

#ifdef CONFIG_BOSWELL_OPUS
/* What the encoder needs, and what has been set aside for it. Two numbers
 * rather than a boolean, because the interesting question is not "does it
 * fit" but "by how much" -- the reserve was picked to be comfortably large
 * and has never been measured against the real figure. */
int codec_opus_state_bytes(void);
int codec_opus_reserved(void);
#endif

#endif
```
